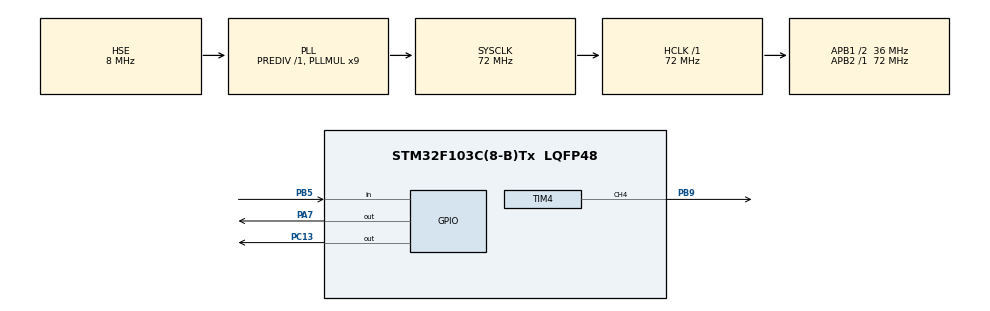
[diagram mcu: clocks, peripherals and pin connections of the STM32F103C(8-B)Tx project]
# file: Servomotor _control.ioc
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Mcu.Family=STM32F1
Mcu.Name=STM32F103C(8-B)Tx
Mcu.Package=LQFP48
NVIC.PriorityGroup=NVIC_PRIORITYGROUP_4
PA7.Signal=GPIO_Output
PB5.Signal=GPIO_Input
PB9.Signal=S_TIM4_CH4
PC13-TAMPER-RTC.Signal=GPIO_Output
PD0-OSC_IN.Mode=HSE-External-Oscillator
PD0-OSC_IN.Signal=RCC_OSC_IN
PD1-OSC_OUT.Mode=HSE-External-Oscillator
PD1-OSC_OUT.Signal=RCC_OSC_OUT
ProjectManager.HeapSize=0x200
ProjectManager.StackSize=0x400
ProjectManager.TargetToolchain=STM32CubeIDE
RCC.AHBFreq_Value=72000000
RCC.APB1CLKDivider=RCC_HCLK_DIV2
RCC.APB1Freq_Value=36000000
RCC.APB1TimFreq_Value=72000000
RCC.APB2Freq_Value=72000000
RCC.APB2TimFreq_Value=72000000
RCC.HCLKFreq_Value=72000000
RCC.PLLMUL=RCC_PLL_MUL9
RCC.PLLSourceVirtual=RCC_PLLSOURCE_HSE
RCC.SYSCLKFreq_VALUE=72000000
RCC.SYSCLKSource=RCC_SYSCLKSOURCE_PLLCLK
RCC.USBFreq_Value=72000000
SH.S_TIM4_CH4.0=TIM4_CH4,PWM Generation4 CH4
TIM4.Channel-PWM\ Generation4\ CH4=TIM_CHANNEL_4
TIM4.Period=19999
TIM4.Prescaler=71
VP_SYS_VS_ND.Mode=No_Debug
VP_TIM4_VS_ClockSourceINT.Mode=Internal
board=custom

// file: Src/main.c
/* USER CODE BEGIN Header */
/**
  ******************************************************************************
  * @file           : main.c
  * @brief          : Main program body
  ******************************************************************************
  * @attention
  *
  * Copyright (c) 2026 STMicroelectronics.
  * All rights reserved.
  *
  * This software is licensed under terms that can be found in the LICENSE file
  * in the root directory of this software component.
  * If no LICENSE file comes with this software, it is provided AS-IS.
  *
  ******************************************************************************
  */
/* USER CODE END Header */
#include "main.h"

TIM_HandleTypeDef htim4;

void SystemClock_Config(void);
static void MX_GPIO_Init(void);
static void MX_TIM4_Init(void);

int main(void)
{

  /* MCU Configuration--------------------------------------------------------*/

  /* Reset of all peripherals, Initializes the Flash interface and the Systick. */
  HAL_Init();

  /* Configure the system clock */
  SystemClock_Config();

  /* Initialize all configured peripherals */
  MX_GPIO_Init();
  MX_TIM4_Init();
  /* USER CODE BEGIN 2 */
    HAL_TIM_PWM_Start(&htim4 , TIM_CHANNEL_4);
  /* USER CODE END 2 */

  /* Infinite loop */
  /* USER CODE BEGIN WHILE */
    int hartbit = 0;
    int last_press =1;
    int current_press =0;
    int state =0;
    int delay =0 ;
    while (1)
    {

    /* USER CODE END WHILE */

    /* USER CODE BEGIN 3 */
    	if(HAL_GetTick() - hartbit >= 500){
		  	  HAL_GPIO_TogglePin(GPIOC , GPIO_PIN_13);
         hartbit = HAL_GetTick() ;
    	}
  	  current_press = HAL_GPIO_ReadPin(GPIOB, GPIO_PIN_5);

  	  if (last_press == 0 && current_press == 1){

  		  if (HAL_GetTick()-delay >= 50){
  			  delay = HAL_GetTick();

  		  if (state ==0)
  		  {

  		__HAL_TIM_SET_COMPARE(&htim4, TIM_CHANNEL_4, 500);
  		state++;
  		  }
  		  else if (state ==1)
  		 		  {

  		 		__HAL_TIM_SET_COMPARE(&htim4, TIM_CHANNEL_4, 1500);
  				state++;

  		 		  }
  		  else if (state ==2)
  		 		  {

  		 		__HAL_TIM_SET_COMPARE(&htim4, TIM_CHANNEL_4, 2500);
  				state = 0;

  		 		  }

  		  }

  	  }

		  last_press = current_press ;

    }
  /* USER CODE END 3 */
}

void SystemClock_Config(void)
{
  RCC_OscInitTypeDef RCC_OscInitStruct = {0};
  RCC_ClkInitTypeDef RCC_ClkInitStruct = {0};

  /** Initializes the RCC Oscillators according to the specified parameters
  * in the RCC_OscInitTypeDef structure.
  */
  RCC_OscInitStruct.OscillatorType = RCC_OSCILLATORTYPE_HSE;
  RCC_OscInitStruct.HSEState = RCC_HSE_ON;
  RCC_OscInitStruct.HSEPredivValue = RCC_HSE_PREDIV_DIV1;
  RCC_OscInitStruct.HSIState = RCC_HSI_ON;
  RCC_OscInitStruct.PLL.PLLState = RCC_PLL_ON;
  RCC_OscInitStruct.PLL.PLLSource = RCC_PLLSOURCE_HSE;
  RCC_OscInitStruct.PLL.PLLMUL = RCC_PLL_MUL9;
  if (HAL_RCC_OscConfig(&RCC_OscInitStruct) != HAL_OK)
  {
    Error_Handler();
  }

  /** Initializes the CPU, AHB and APB buses clocks
  */
  RCC_ClkInitStruct.ClockType = RCC_CLOCKTYPE_HCLK|RCC_CLOCKTYPE_SYSCLK
                              |RCC_CLOCKTYPE_PCLK1|RCC_CLOCKTYPE_PCLK2;
  RCC_ClkInitStruct.SYSCLKSource = RCC_SYSCLKSOURCE_PLLCLK;
  RCC_ClkInitStruct.AHBCLKDivider = RCC_SYSCLK_DIV1;
  RCC_ClkInitStruct.APB1CLKDivider = RCC_HCLK_DIV2;
  RCC_ClkInitStruct.APB2CLKDivider = RCC_HCLK_DIV1;

  if (HAL_RCC_ClockConfig(&RCC_ClkInitStruct, FLASH_LATENCY_2) != HAL_OK)
  {
    Error_Handler();
  }
}

static void MX_TIM4_Init(void)
{

  TIM_ClockConfigTypeDef sClockSourceConfig = {0};
  TIM_MasterConfigTypeDef sMasterConfig = {0};
  TIM_OC_InitTypeDef sConfigOC = {0};

  htim4.Instance = TIM4;
  htim4.Init.Prescaler = 71;
  htim4.Init.CounterMode = TIM_COUNTERMODE_UP;
  htim4.Init.Period = 19999;
  htim4.Init.ClockDivision = TIM_CLOCKDIVISION_DIV1;
  htim4.Init.AutoReloadPreload = TIM_AUTORELOAD_PRELOAD_DISABLE;
  if (HAL_TIM_Base_Init(&htim4) != HAL_OK)
  {
    Error_Handler();
  }
  sClockSourceConfig.ClockSource = TIM_CLOCKSOURCE_INTERNAL;
  if (HAL_TIM_ConfigClockSource(&htim4, &sClockSourceConfig) != HAL_OK)
  {
    Error_Handler();
  }
  if (HAL_TIM_PWM_Init(&htim4) != HAL_OK)
  {
    Error_Handler();
  }
  sMasterConfig.MasterOutputTrigger = TIM_TRGO_RESET;
  sMasterConfig.MasterSlaveMode = TIM_MASTERSLAVEMODE_DISABLE;
  if (HAL_TIMEx_MasterConfigSynchronization(&htim4, &sMasterConfig) != HAL_OK)
  {
    Error_Handler();
  }
  sConfigOC.OCMode = TIM_OCMODE_PWM1;
  sConfigOC.Pulse = 0;
  sConfigOC.OCPolarity = TIM_OCPOLARITY_HIGH;
  sConfigOC.OCFastMode = TIM_OCFAST_DISABLE;
  if (HAL_TIM_PWM_ConfigChannel(&htim4, &sConfigOC, TIM_CHANNEL_4) != HAL_OK)
  {
    Error_Handler();
  }
  HAL_TIM_MspPostInit(&htim4);

}

static void MX_GPIO_Init(void)
{
  GPIO_InitTypeDef GPIO_InitStruct = {0};

  /* GPIO Ports Clock Enable */
  __HAL_RCC_GPIOC_CLK_ENABLE();
  __HAL_RCC_GPIOD_CLK_ENABLE();
  __HAL_RCC_GPIOA_CLK_ENABLE();
  __HAL_RCC_GPIOB_CLK_ENABLE();

  /*Configure GPIO pin Output Level */
  HAL_GPIO_WritePin(GPIOC, GPIO_PIN_13, GPIO_PIN_RESET);

  /*Configure GPIO pin Output Level */
  HAL_GPIO_WritePin(GPIOA, GPIO_PIN_7, GPIO_PIN_RESET);

  /*Configure GPIO pin : PC13 */
  GPIO_InitStruct.Pin = GPIO_PIN_13;
  GPIO_InitStruct.Mode = GPIO_MODE_OUTPUT_PP;
  GPIO_InitStruct.Pull = GPIO_NOPULL;
  GPIO_InitStruct.Speed = GPIO_SPEED_FREQ_LOW;
  HAL_GPIO_Init(GPIOC, &GPIO_InitStruct);

  /*Configure GPIO pin : PA7 */
  GPIO_InitStruct.Pin = GPIO_PIN_7;
  GPIO_InitStruct.Mode = GPIO_MODE_OUTPUT_PP;
  GPIO_InitStruct.Pull = GPIO_NOPULL;
  GPIO_InitStruct.Speed = GPIO_SPEED_FREQ_LOW;
  HAL_GPIO_Init(GPIOA, &GPIO_InitStruct);

  /*Configure GPIO pin : PB5 */
  GPIO_InitStruct.Pin = GPIO_PIN_5;
  GPIO_InitStruct.Mode = GPIO_MODE_INPUT;
  GPIO_InitStruct.Pull = GPIO_NOPULL;
  HAL_GPIO_Init(GPIOB, &GPIO_InitStruct);

}

void Error_Handler(void)
{
    __disable_irq();
    while (1)
    {
    }
}
